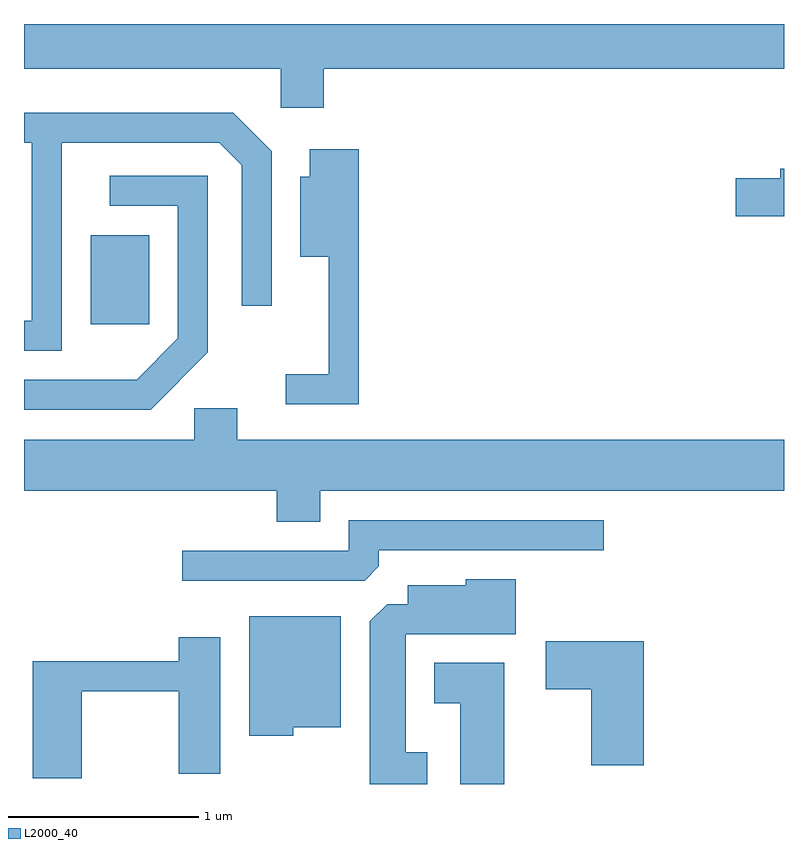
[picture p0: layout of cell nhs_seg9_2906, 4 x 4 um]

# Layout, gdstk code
import gdstk
lib = gdstk.Library(unit=1e-6, precision=1e-09)
def R(c, l, rs):  # rectangles x0, y0, x1, y1
    for r in rs: c.add(gdstk.rectangle(r[:2], r[2:], *l))
def P(c, l, *ps):  # polygons
    for p in ps: c.add(gdstk.Polygon(p, *l))
L2000_40 = (2000, 40)

nhs_seg9_2906 = lib.new_cell('nhs_seg9_2906')
R(nhs_seg9_2906, L2000_40, [(269.961,2054.851,270.269,2055.319)])
P(nhs_seg9_2906, L2000_40, [(271.189,2056.196),(273.611,2056.196),(273.611,2056.432),(269.611,2056.432),(269.611,2056.196),(270.961,2056.196),(270.961,2055.991),(271.189,2055.991)],
  [(269.809,2055.806),(270.639,2055.806),(270.756,2055.689),(270.756,2054.948),(270.914,2054.948),(270.914,2055.762),(270.712,2055.964),(269.611,2055.964),(269.611,2055.806),(269.651,2055.806),(269.651,2054.869),(269.611,2054.869),(269.611,2054.711),(269.809,2054.711)],
  [(271.374,2055.774),(271.116,2055.774),(271.116,2055.629),(271.066,2055.629),(271.066,2055.206),(271.216,2055.206),(271.216,2054.589),(270.988,2054.589),(270.988,2054.431),(271.374,2054.431)],
  [(273.611,2055.669),(273.591,2055.669),(273.591,2055.619),(273.356,2055.619),(273.356,2055.421),(273.611,2055.421)],
  [(270.579,2054.704),(270.579,2055.634),(270.063,2055.634),(270.063,2055.476),(270.421,2055.476),(270.421,2054.777),(270.204,2054.559),(269.611,2054.559),(269.611,2054.401),(270.277,2054.401)],
  [(271.169,2053.976),(273.611,2053.976),(273.611,2054.244),(270.734,2054.244),(270.734,2054.409),(270.506,2054.409),(270.506,2054.244),(269.611,2054.244),(269.611,2053.976),(270.941,2053.976),(270.941,2053.811),(271.169,2053.811)],
  [(271.479,2053.577),(271.479,2053.661),(272.663,2053.661),(272.663,2053.819),(271.321,2053.819),(271.321,2053.659),(270.443,2053.659),(270.443,2053.501),(271.404,2053.501)],
  [(271.734,2052.599),(271.619,2052.599),(271.619,2053.221),(272.199,2053.221),(272.199,2053.509),(271.936,2053.509),(271.936,2053.479),(271.631,2053.479),(271.631,2053.379),(271.522,2053.379),(271.431,2053.289),(271.431,2052.432),(271.734,2052.432)],
  [(271.029,2052.731),(271.279,2052.731),(271.279,2053.314),(270.796,2053.314),(270.796,2052.686),(271.029,2052.686)],
  [(269.914,2052.921),(270.426,2052.921),(270.426,2052.486),(270.644,2052.486),(270.644,2053.204),(270.426,2053.204),(270.426,2053.079),(269.656,2053.079),(269.656,2052.461),(269.914,2052.461)],
  [(272.874,2053.184),(272.356,2053.184),(272.356,2052.931),(272.596,2052.931),(272.596,2052.531),(272.874,2052.531)],
  [(272.139,2053.069),(271.771,2053.069),(271.771,2052.856),(271.906,2052.856),(271.906,2052.432),(272.139,2052.432)])

lib.write_gds('nhs_seg9_2906.gds')
